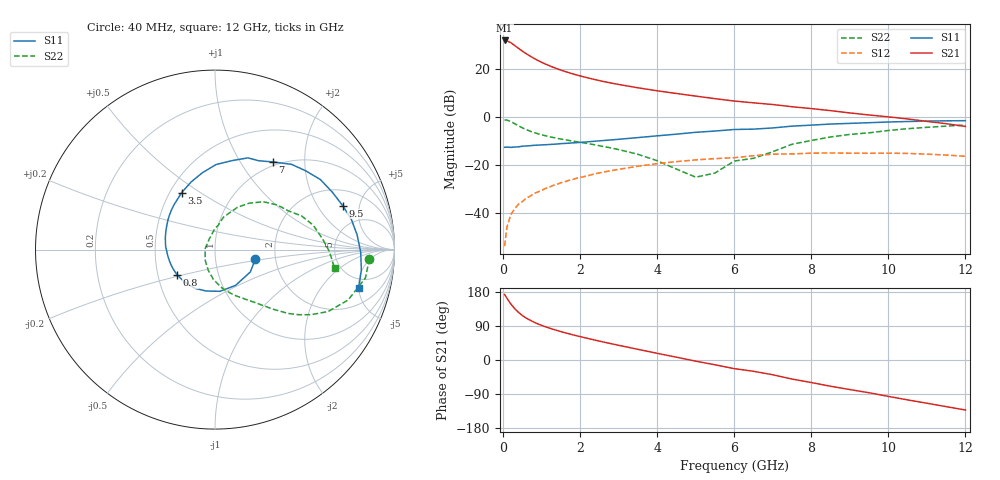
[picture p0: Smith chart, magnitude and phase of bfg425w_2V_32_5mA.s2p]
! Filename: 232bfg425.001
! BFG425W Field C1
! V1=8.734E-001V,V2=2.000E+000V, I1=4.905E-004A, I2=3.245E-002A
# GHz  S  MA  R 50
!  S11  S21  S12  S22
!Freq(GHz)  Mag  Ang  Mag  Ang  Mag  Ang  Mag  Ang
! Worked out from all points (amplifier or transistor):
!   44 points, 40 MHz to 12 GHz, reference 50 ohm
!   highest |S21| = 31.8 dB at 40 MHz (marker M1)
!   |S21| within 3 dB of that: start of sweep to 376.2 MHz
!   unconditionally stable (mu >= 1): start of sweep to 68.76 MHz; 867.7 MHz to end of sweep
!   at 700 MHz: K = 0.95, MSG = 29.2 dB, |S12| = -33.2 dB
!   at 2.4 GHz: K = 1.21, MAG = 16.8 dB, |S12| = -23.7 dB
!   at 12 GHz: K = 1.39, MAG = 2.5 dB, |S12| = -16.5 dB
!   S11 on the Smith chart (normalised r, x): 40 MHz: 1.57, -0.17; 800 MHz: 0.63, -0.19; 3.5 GHz: 0.57, +0.42; 7 GHz: 0.94, +1.40; 9.5 GHz: 3.02, +3.41; 12 GHz: 3.72, -5.03
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0.04  0.231 -13.1  39.05 172.9  0.002 76.8  0.862 -3.3
0.1  0.233 -32.3  38.28 163.2  0.005 80.0  0.853 -10.6
0.2  0.23 -60.3  35.17 148.0  0.009 74.2  0.793 -20.7
0.3  0.234 -83.3  30.69 135.7  0.012 70.6  0.719 -28.7
0.4  0.236 -102.2  26.76 125.8  0.015 68.0  0.647 -34.1
0.5  0.243 -117.6  23.43 117.3  0.017 65.8  0.589 -38.0
0.6  0.246 -129.1  20.68 110.7  0.02 64.8  0.541 -41.1
0.7  0.249 -138.4  18.45 105.0  0.022 63.8  0.501 -43.3
0.8  0.254 -146.6  16.58 99.9  0.025 63.3  0.471 -45.2
1  0.259 -159.8  13.69 91.4  0.029 61.9  0.421 -48.5
1.3  0.267 -174.9  10.78 81.0  0.037 59.8  0.37 -52.9
1.7  0.281 169.6  8.344 69.4  0.047 56.3  0.322 -58.8
2.2  0.3 153.6  6.473 56.9  0.059 50.6  0.276 -66.9
2.8  0.329 137.2  5.066 43.2  0.075 42.8  0.224 -78.0
3.5  0.368 120.4  4.019 28.2  0.093 32.8  0.165 -93.4
4.5  0.434 99.3  3.059 7.4  0.116 17.3  0.081 -132.5
6.5  0.552 63.7  1.953 -29.8  0.154 -11.5  0.136 82.8
7  0.585 56.7  1.8 -39.0  0.166 -19.3  0.187 75.3
8.5  0.705 33.6  1.342 -69.3  0.176 -47.9  0.379 44.7
9.5  0.752 19.1  1.09 -86.4  0.173 -64.1  0.463 27.7
10.5  0.796 5.9  0.9 -105.3  0.172 -82.2  0.564 14.0
12  0.829 -14.8  0.628 -131.9  0.15 -111.0  0.674 -8.9
